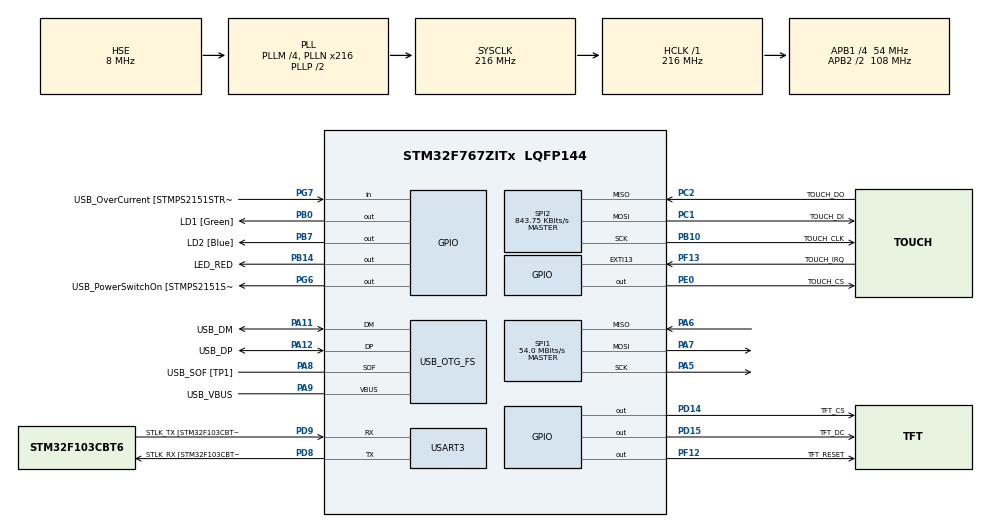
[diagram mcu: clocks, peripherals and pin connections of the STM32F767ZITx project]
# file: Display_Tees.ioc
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Dma.Request0=SPI1_TX
Dma.SPI1_TX.0.Direction=DMA_MEMORY_TO_PERIPH
Dma.SPI1_TX.0.FIFOMode=DMA_FIFOMODE_DISABLE
Dma.SPI1_TX.0.Instance=DMA2_Stream3
Dma.SPI1_TX.0.MemDataAlignment=DMA_MDATAALIGN_BYTE
Dma.SPI1_TX.0.MemInc=DMA_MINC_ENABLE
Dma.SPI1_TX.0.Mode=DMA_NORMAL
Dma.SPI1_TX.0.PeriphDataAlignment=DMA_PDATAALIGN_BYTE
Dma.SPI1_TX.0.PeriphInc=DMA_PINC_DISABLE
Dma.SPI1_TX.0.Priority=DMA_PRIORITY_VERY_HIGH
FREERTOS.Tasks01=defaultTask,48,512,StartDefaultTask,Default,NULL,Dynamic,NULL,NULL;LVGL_Handler,8,2048,LVGL_Handler_Function,Default,NULL,Dynamic,NULL,NULL
FREERTOS.configMINIMAL_STACK_SIZE=512
FREERTOS.configTOTAL_HEAP_SIZE=15360
FREERTOS.configUSE_NEWLIB_REENTRANT=1
FREERTOS.configUSE_TICK_HOOK=1
Mcu.Family=STM32F7
Mcu.Name=STM32F767ZITx
Mcu.Package=LQFP144
NVIC.DMA2_Stream3_IRQn=true\:5\:0\:true\:false\:true\:false\:false\:true
NVIC.EXTI15_10_IRQn=true\:5\:0\:false\:false\:true\:true\:true\:true
NVIC.PriorityGroup=NVIC_PRIORITYGROUP_4
NVIC.SPI1_IRQn=true\:5\:0\:false\:false\:true\:true\:true\:true
NVIC.SPI2_IRQn=true\:5\:0\:false\:false\:true\:true\:true\:true
NVIC.TIM8_TRG_COM_TIM14_IRQn=true\:0\:0\:false\:false\:true\:false\:false\:true
NVIC.TIM8_UP_TIM13_IRQn=true\:5\:0\:false\:false\:true\:true\:true\:true
NVIC.TimeBase=TIM8_TRG_COM_TIM14_IRQn
NVIC.TimeBaseIP=TIM14
PA10.GPIO_Label=USB_ID
PA10.Signal=USB_OTG_FS_ID
PA11.GPIO_Label=USB_DM
PA11.Mode=Device_Only
PA11.Signal=USB_OTG_FS_DM
PA12.GPIO_Label=USB_DP
PA12.Mode=Device_Only
PA12.Signal=USB_OTG_FS_DP
PA13.GPIO_Label=TMS
PA13.Mode=Serial_Wire
PA13.Signal=SYS_JTMS-SWDIO
PA14.GPIO_Label=TCK
PA14.Mode=Serial_Wire
PA14.Signal=SYS_JTCK-SWCLK
PA5.Mode=Full_Duplex_Master
PA5.Signal=SPI1_SCK
PA6.Mode=Full_Duplex_Master
PA6.Signal=SPI1_MISO
PA7.Mode=Full_Duplex_Master
PA7.Signal=SPI1_MOSI
PA8.GPIO_Label=USB_SOF [TP1]
PA8.Mode=Activate_SOF_FS
PA8.Signal=USB_OTG_FS_SOF
PA9.GPIO_Label=USB_VBUS
PA9.Mode=Activate_VBUS
PA9.Signal=USB_OTG_FS_VBUS
PB0.GPIO_Label=LD1 [Green]
PB0.Signal=GPIO_Output
PB10.GPIO_Label=TOUCH_CLK
PB10.Mode=Full_Duplex_Master
PB10.Signal=SPI2_SCK
PB14.GPIO_Label=LED_RED
PB14.Signal=GPIO_Output
PB3.GPIO_Label=SWO
PB3.Signal=SYS_JTDO-SWO
PB7.GPIO_Label=LD2 [Blue]
PB7.Signal=GPIO_Output
PC1.GPIO_Label=TOUCH_DI
PC1.Mode=Full_Duplex_Master
PC1.Signal=SPI2_MOSI
PC14/OSC32_IN.Mode=LSE-External-Oscillator
PC14/OSC32_IN.Signal=RCC_OSC32_IN
PC15/OSC32_OUT.Mode=LSE-External-Oscillator
PC15/OSC32_OUT.Signal=RCC_OSC32_OUT
PC2.GPIO_Label=TOUCH_DO
PC2.Mode=Full_Duplex_Master
PC2.Signal=SPI2_MISO
PD14.GPIO_Label=TFT_CS
PD14.GPIO_Speed=GPIO_SPEED_FREQ_VERY_HIGH
PD14.Signal=GPIO_Output
PD15.GPIO_Label=TFT_DC
PD15.GPIO_Speed=GPIO_SPEED_FREQ_VERY_HIGH
PD15.Signal=GPIO_Output
PD8.GPIO_Label=STLK_RX [STM32F103CBT6_PA3]
PD8.Mode=Asynchronous
PD8.Signal=USART3_TX
PD9.GPIO_Label=STLK_TX [STM32F103CBT6_PA2]
PD9.Mode=Asynchronous
PD9.Signal=USART3_RX
PE0.GPIO_Label=TOUCH_CS
PE0.Signal=GPIO_Output
PF12.GPIO_Label=TFT_RESET
PF12.GPIO_Speed=GPIO_SPEED_FREQ_MEDIUM
PF12.Signal=GPIO_Output
PF13.GPIO_Label=TOUCH_IRQ
PF13.GPIO_ModeDefaultEXTI=GPIO_MODE_IT_RISING_FALLING
PF13.Signal=GPXTI13
PG6.GPIO_Label=USB_PowerSwitchOn [STMPS2151STR_EN]
PG6.Signal=GPIO_Output
PG7.GPIO_Label=USB_OverCurrent [STMPS2151STR_FAULT]
PG7.Signal=GPIO_Input
PH0/OSC_IN.GPIO_Label=MCO [STM32F103CBT6_PA8]
PH0/OSC_IN.Mode=HSE-External-Clock-Source
PH0/OSC_IN.Signal=RCC_OSC_IN
PH1/OSC_OUT.Mode=HSE-External-Clock-Source
PH1/OSC_OUT.Signal=RCC_OSC_OUT
ProjectManager.HeapSize=0x200
ProjectManager.StackSize=0x400
ProjectManager.TargetToolchain=STM32CubeIDE
RCC.48MHZClocksFreq_Value=24000000
RCC.AHBFreq_Value=216000000
RCC.APB1CLKDivider=RCC_HCLK_DIV4
RCC.APB1Freq_Value=54000000
RCC.APB1TimFreq_Value=108000000
RCC.APB2CLKDivider=RCC_HCLK_DIV2
RCC.APB2Freq_Value=108000000
RCC.APB2TimFreq_Value=216000000
RCC.CortexFreq_Value=216000000
RCC.HCLKFreq_Value=216000000
RCC.HSE_VALUE=8000000
RCC.HSI_VALUE=16000000
RCC.PLLM=4
RCC.PLLMUL=RCC_PLL_MUL9
RCC.PLLN=216
RCC.PLLQ=9
RCC.PRESCALERUSB=RCC_USBCLKSOURCE_PLL_DIV1_5
RCC.SYSCLKFreq_VALUE=216000000
RCC.SYSCLKSource=RCC_SYSCLKSOURCE_PLLCLK
RCC.SYSCLKSourceVirtual=RCC_SYSCLKSOURCE_PLLCLK
RCC.USBFreq_Value=48000000
RCC.VCOOutputFreq_Value=432000000
SPI1.BaudRatePrescaler=SPI_BAUDRATEPRESCALER_2
SPI1.CalculateBaudRate=54.0 MBits/s
SPI1.DataSize=SPI_DATASIZE_8BIT
SPI1.Direction=SPI_DIRECTION_2LINES
SPI1.Mode=SPI_MODE_MASTER
SPI1.NSSPMode=SPI_NSS_PULSE_DISABLE
SPI1.VirtualType=VM_MASTER
SPI2.BaudRatePrescaler=SPI_BAUDRATEPRESCALER_64
SPI2.CalculateBaudRate=843.75 KBits/s
SPI2.DataSize=SPI_DATASIZE_8BIT
SPI2.Direction=SPI_DIRECTION_2LINES
SPI2.Mode=SPI_MODE_MASTER
SPI2.VirtualType=VM_MASTER
TIM13.AutoReloadPreload=TIM_AUTORELOAD_PRELOAD_ENABLE
USART3.VirtualMode-Asynchronous=VM_ASYNC
USB_OTG_FS.VirtualMode=Device_Only
VP_FREERTOS_VS_CMSIS_V2.Mode=CMSIS_V2
VP_SYS_VS_tim14.Mode=TIM14
VP_TIM13_VS_ClockSourceINT.Mode=Enable_Timer
board=NUCLEO-F767ZI

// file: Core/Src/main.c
/* USER CODE BEGIN Header */
/**
 ******************************************************************************
 * @file           : main.c
 * @brief          : Main program body
 ******************************************************************************
 * @attention
 *
 * <h2><center>&copy; Copyright (c) 2021 STMicroelectronics.
 * All rights reserved.</center></h2>
 *
 * This software component is licensed by ST under BSD 3-Clause license,
 * the "License"; You may not use this file except in compliance with the
 * License. You may obtain a copy of the License at:
 *                        opensource.org/licenses/BSD-3-Clause
 *
 ******************************************************************************
 */
/* USER CODE END Header */
#include "main.h"
#include "cmsis_os.h"
#include "tpcal.h"

/* USER CODE BEGIN Includes */
#include "ili9341.h"
#include "ili9341_gfx.h"
#include "lvgl.h"
#include "semphr.h"
/* USER CODE END Includes */

/* USER CODE BEGIN PD */
extern osThreadId screenTaskHandle;

ili9341_t *_lcd;
SemaphoreHandle_t LVGL_Mutex;
/* USER CODE END PD */

SPI_HandleTypeDef hspi1;
SPI_HandleTypeDef hspi2;
DMA_HandleTypeDef hdma_spi1_tx;

TIM_HandleTypeDef htim13;

UART_HandleTypeDef huart3;

PCD_HandleTypeDef hpcd_USB_OTG_FS;

/* Definitions for defaultTask */
osThreadId_t defaultTaskHandle;
const osThreadAttr_t defaultTask_attributes = { .name = "defaultTask",
		.priority = (osPriority_t) osPriorityRealtime, .stack_size = 512 * 4 };
/* Definitions for LVGL_Handler */
osThreadId_t LVGL_HandlerHandle;
const osThreadAttr_t LVGL_Handler_attributes = { .name = "LVGL_Handler",
		.priority = (osPriority_t) osPriorityLow, .stack_size = 2048 * 4 };

void SystemClock_Config(void);
static void MX_GPIO_Init(void);
static void MX_DMA_Init(void);
static void MX_USART3_UART_Init(void);
static void MX_USB_OTG_FS_PCD_Init(void);
static void MX_SPI1_Init(void);
static void MX_TIM13_Init(void);
static void MX_SPI2_Init(void);
void StartDefaultTask(void *argument);
void LVGL_Handler_Function(void *argument);

/* USER CODE BEGIN 0 */
bool my_input_read(lv_indev_drv_t *drv, lv_indev_data_t *data) {
	ili9341_touch_lvgl_handler(_lcd);
	data->point.x = _lcd->touch_coordinate.x;
	data->point.y = _lcd->touch_coordinate.y;
	//data->point.x = 15;
	//data->point.y = 15;
	data->state = _lcd->touch_pressed; // or LV_INDEV_STATE_REL;
	return false; /*No buffering now so no more data read*/
}
static void btn_event_cb(lv_obj_t *btn, lv_event_t event) {
	if (event.code == LV_EVENT_CLICKED) {
		printf("Clicked\n");
	}
}

void HAL_GPIO_EXTI_Callback(uint16_t GPIO_Pin) {
	if (GPIO_Pin == TOUCH_IRQ_Pin) {
		//HAL_GPIO_DeInit(TOUCH_IRQ_GPIO_Port,TOUCH_IRQ_Pin);
		ili9341_touch_interrupt(_lcd);
		/* GPIO_InitTypeDef GPIO_InitStruct = {0};
		 GPIO_InitStruct.Pin = TOUCH_IRQ_Pin;
		 GPIO_InitStruct.Mode = GPIO_MODE_IT_RISING_FALLING;
		 GPIO_InitStruct.Pull = GPIO_NOPULL;
		 HAL_GPIO_Init(TOUCH_IRQ_GPIO_Port, &GPIO_InitStruct);*/
	}
	return;
}
void screenTouchBegin(ili9341_t *lcd, uint16_t x, uint16_t y) {
	;
}

void screenTouchEnd(ili9341_t *lcd, uint16_t x, uint16_t y) {
	;
}
void prvGetRegistersFromStack(uint32_t *pulFaultStackAddress) {
	/* These are volatile to try and prevent the compiler/linker optimising them
	 away as the variables never actually get used.  If the debugger won't show the
	 values of the variables, make them global my moving their declaration outside
	 of this function. */
	volatile uint32_t r0;
	volatile uint32_t r1;
	volatile uint32_t r2;
	volatile uint32_t r3;
	volatile uint32_t r12;
	volatile uint32_t lr; /* Link register. */
	volatile uint32_t pc; /* Program counter. */
	volatile uint32_t psr;/* Program status register. */

	r0 = pulFaultStackAddress[0];
	r1 = pulFaultStackAddress[1];
	r2 = pulFaultStackAddress[2];
	r3 = pulFaultStackAddress[3];

	r12 = pulFaultStackAddress[4];
	lr = pulFaultStackAddress[5];
	pc = pulFaultStackAddress[6];
	psr = pulFaultStackAddress[7];

	/* When the following line is hit, the variables contain the register values. */
	for (;;)
		;
}
ili9341_t* display(void) {
	return _lcd;
}
/*void vApplicationTickHook (void){
 lv_tick_inc(1);
 }*/
/*A static or global variable to store the buffers*/
#define MY_DISP_HOR_RES 320
static lv_disp_draw_buf_t disp_buf;

/*Static or global buffer(s). The second buffer is optional*/
static lv_color_t buf_1[MY_DISP_HOR_RES * 10];
static lv_color_t buf_2[MY_DISP_HOR_RES * 10];

void my_flush_cb(lv_disp_drv_t *disp_drv, const lv_area_t *area,
		lv_color_t *color_p) {
	/*The most simple case (but also the slowest) to put all pixels to the screen one-by-one*/
	/* int32_t x, y;
	 for(y = area->y1; y <= area->y2; y++) {
	 for(x = area->x1; x <= area->x2; x++) {
	 put_px(x, y, *color_p)
	 color_p++;
	 }
	 }*/

	ili9341_fill_block(_lcd, color_p, area->x1, area->y1, area->x2, area->y2);

	/* IMPORTANT!!!
	 * Inform the graphics library that you are ready with the flushing*/
	lv_disp_flush_ready(disp_drv);
}
lv_obj_t *btn;
/* USER CODE END 0 */

int main(void) {

	/* MCU Configuration--------------------------------------------------------*/

	/* Reset of all peripherals, Initializes the Flash interface and the Systick. */

	HAL_Init();

	/* Configure the system clock */
	SystemClock_Config();

	/* Initialize all configured peripherals */
	MX_GPIO_Init();
	MX_DMA_Init();
	MX_USART3_UART_Init();
	MX_USB_OTG_FS_PCD_Init();
	MX_SPI1_Init();
	MX_TIM13_Init();
	MX_SPI2_Init();
	/* USER CODE BEGIN 2 */
	_lcd = ili9341_new(&hspi1,
	TFT_RESET_GPIO_Port, TFT_RESET_Pin,
	TFT_CS_GPIO_Port, TFT_CS_Pin,
	TFT_DC_GPIO_Port, TFT_DC_Pin, isoLandscape,
	TOUCH_CS_GPIO_Port, TOUCH_CS_Pin,
	TOUCH_IRQ_GPIO_Port, TOUCH_IRQ_Pin, itsSupported, itnNormalized, &hspi2);
	ili9341_set_touch_pressed_begin(_lcd, screenTouchBegin);
	ili9341_set_touch_pressed_end(_lcd, screenTouchEnd);
	lv_init();

	/*Initialize `disp_buf` with the buffer(s) */
	lv_disp_draw_buf_init(&disp_buf, buf_1, buf_2, MY_DISP_HOR_RES * 10);
	/* INIT DISPLAY */
	static lv_disp_drv_t disp_drv; /*A variable to hold the drivers. Can be local variable*/
	lv_disp_drv_init(&disp_drv); /*Basic initialization*/
	disp_drv.draw_buf = &disp_buf; /*Set an initialized buffer*/
	disp_drv.flush_cb = my_flush_cb; /*Set a flush callback to draw to the display*/
	disp_drv.rounder_cb = 0;
	lv_disp_t *disp;
	disp = lv_disp_drv_register(&disp_drv); /*Register the driver and save the created display objects*/
	/*INIT INPUT DEVICE*/
	static lv_indev_drv_t indev_drv;
	lv_indev_drv_init(&indev_drv); /*Basic initialization*/
	indev_drv.type = LV_INDEV_TYPE_POINTER;
	indev_drv.read_cb = my_input_read;

	lv_indev_t *my_indev = lv_indev_drv_register(&indev_drv);

	/* Create Test Object */
	lv_tick_inc(1);

	btn = lv_btn_create(lv_scr_act());

	//lv_obj_align(btn, NULL, 0, -40);
	lv_obj_add_event_cb(btn, btn_event_cb, LV_EVENT_ALL, NULL);
	lv_obj_t *label;
	label = lv_label_create(btn);
	lv_label_set_text(label, "+");
	lv_obj_set_size(btn, 10, 10);
	lv_obj_set_pos(btn, 10, 10);

	/*Create an array for the points of the line*/
	static lv_point_t line_points[] = { { 5, 5 }, { 70, 70 }, { 120, 10 }, {
			180, 60 }, { 240, 10 } };

	/*Create style*/
	static lv_style_t style_line;
	lv_style_init(&style_line);
	lv_style_set_bg_color(&style_line, lv_palette_main(LV_PALETTE_BLUE));
	lv_style_set_line_width(&style_line, 2);
	lv_style_set_line_rounded(&style_line, true);
	lv_style_set_bg_opa(&style_line, LV_OPA_10);
	lv_style_set_border_opa(&style_line, LV_OPA_10);
	/*Create a line and apply the new style*/
	lv_obj_t *line1;
	line1 = lv_line_create(lv_scr_act());
	lv_line_set_points(line1, line_points, 5); /*Set the points*/
	lv_obj_add_style(line1, &style_line, 0);
	lv_obj_center(line1);

	lv_obj_t *label1 = lv_label_create(lv_scr_act());
	lv_label_set_long_mode(label1, LV_LABEL_LONG_WRAP); /*Break the long lines*/
	lv_label_set_recolor(label1, true); /*Enable re-coloring by commands in the text*/
	//lv_label_set_align(label1, LV_TEXT_ALIGN_CENTER);       /*Center aligned lines*/
	lv_label_set_text(label1,
			"#0000ff Re-color# #ff00ff words# #ff0000 of a# label "
					"and  wrap long text automatically.");
	lv_obj_set_width(label1, 150);

	//ili9341_touch_lvgl_calibration();

	/* USER CODE END 2 */

	/* Init scheduler */
	osKernelInitialize();

	/* Create the thread(s) */
	/* creation of defaultTask */
	defaultTaskHandle = osThreadNew(StartDefaultTask, NULL,
			&defaultTask_attributes);

	/* creation of LVGL_Handler */
	LVGL_HandlerHandle = osThreadNew(LVGL_Handler_Function, NULL,
			&LVGL_Handler_attributes);

	/* Start scheduler */
	osKernelStart();

	/* We should never get here as control is now taken by the scheduler */
	/* Infinite loop */
	while (1) {

	}
}

void SystemClock_Config(void) {
	RCC_OscInitTypeDef RCC_OscInitStruct = { 0 };
	RCC_ClkInitTypeDef RCC_ClkInitStruct = { 0 };
	RCC_PeriphCLKInitTypeDef PeriphClkInitStruct = { 0 };

	/** Configure LSE Drive Capability
	 */
	HAL_PWR_EnableBkUpAccess();
	/** Configure the main internal regulator output voltage
	 */
	__HAL_RCC_PWR_CLK_ENABLE();
	__HAL_PWR_VOLTAGESCALING_CONFIG(PWR_REGULATOR_VOLTAGE_SCALE1);
	/** Initializes the RCC Oscillators according to the specified parameters
	 * in the RCC_OscInitTypeDef structure.
	 */
	RCC_OscInitStruct.OscillatorType = RCC_OSCILLATORTYPE_HSE;
	RCC_OscInitStruct.HSEState = RCC_HSE_BYPASS;
	RCC_OscInitStruct.PLL.PLLState = RCC_PLL_ON;
	RCC_OscInitStruct.PLL.PLLSource = RCC_PLLSOURCE_HSE;
	RCC_OscInitStruct.PLL.PLLM = 4;
	RCC_OscInitStruct.PLL.PLLN = 216;
	RCC_OscInitStruct.PLL.PLLP = RCC_PLLP_DIV2;
	RCC_OscInitStruct.PLL.PLLQ = 9;
	if (HAL_RCC_OscConfig(&RCC_OscInitStruct) != HAL_OK) {
		Error_Handler();
	}
	/** Activate the Over-Drive mode
	 */
	if (HAL_PWREx_EnableOverDrive() != HAL_OK) {
		Error_Handler();
	}
	/** Initializes the CPU, AHB and APB buses clocks
	 */
	RCC_ClkInitStruct.ClockType = RCC_CLOCKTYPE_HCLK | RCC_CLOCKTYPE_SYSCLK
			| RCC_CLOCKTYPE_PCLK1 | RCC_CLOCKTYPE_PCLK2;
	RCC_ClkInitStruct.SYSCLKSource = RCC_SYSCLKSOURCE_PLLCLK;
	RCC_ClkInitStruct.AHBCLKDivider = RCC_SYSCLK_DIV1;
	RCC_ClkInitStruct.APB1CLKDivider = RCC_HCLK_DIV4;
	RCC_ClkInitStruct.APB2CLKDivider = RCC_HCLK_DIV2;

	if (HAL_RCC_ClockConfig(&RCC_ClkInitStruct, FLASH_LATENCY_7) != HAL_OK) {
		Error_Handler();
	}
	PeriphClkInitStruct.PeriphClockSelection = RCC_PERIPHCLK_USART3
			| RCC_PERIPHCLK_CLK48;
	PeriphClkInitStruct.Usart3ClockSelection = RCC_USART3CLKSOURCE_PCLK1;
	PeriphClkInitStruct.Clk48ClockSelection = RCC_CLK48SOURCE_PLL;
	if (HAL_RCCEx_PeriphCLKConfig(&PeriphClkInitStruct) != HAL_OK) {
		Error_Handler();
	}
}

static void MX_SPI1_Init(void) {

	/* SPI1 parameter configuration*/
	hspi1.Instance = SPI1;
	hspi1.Init.Mode = SPI_MODE_MASTER;
	hspi1.Init.Direction = SPI_DIRECTION_2LINES;
	hspi1.Init.DataSize = SPI_DATASIZE_8BIT;
	hspi1.Init.CLKPolarity = SPI_POLARITY_LOW;
	hspi1.Init.CLKPhase = SPI_PHASE_1EDGE;
	hspi1.Init.NSS = SPI_NSS_SOFT;
	hspi1.Init.BaudRatePrescaler = SPI_BAUDRATEPRESCALER_2;
	hspi1.Init.FirstBit = SPI_FIRSTBIT_MSB;
	hspi1.Init.TIMode = SPI_TIMODE_DISABLE;
	hspi1.Init.CRCCalculation = SPI_CRCCALCULATION_DISABLE;
	hspi1.Init.CRCPolynomial = 7;
	hspi1.Init.CRCLength = SPI_CRC_LENGTH_DATASIZE;
	hspi1.Init.NSSPMode = SPI_NSS_PULSE_DISABLE;
	if (HAL_SPI_Init(&hspi1) != HAL_OK) {
		Error_Handler();
	}

}

static void MX_SPI2_Init(void) {

	/* SPI2 parameter configuration*/
	hspi2.Instance = SPI2;
	hspi2.Init.Mode = SPI_MODE_MASTER;
	hspi2.Init.Direction = SPI_DIRECTION_2LINES;
	hspi2.Init.DataSize = SPI_DATASIZE_8BIT;
	hspi2.Init.CLKPolarity = SPI_POLARITY_LOW;
	hspi2.Init.CLKPhase = SPI_PHASE_1EDGE;
	hspi2.Init.NSS = SPI_NSS_SOFT;
	hspi2.Init.BaudRatePrescaler = SPI_BAUDRATEPRESCALER_64;
	hspi2.Init.FirstBit = SPI_FIRSTBIT_MSB;
	hspi2.Init.TIMode = SPI_TIMODE_DISABLE;
	hspi2.Init.CRCCalculation = SPI_CRCCALCULATION_DISABLE;
	hspi2.Init.CRCPolynomial = 7;
	hspi2.Init.CRCLength = SPI_CRC_LENGTH_DATASIZE;
	hspi2.Init.NSSPMode = SPI_NSS_PULSE_ENABLE;
	if (HAL_SPI_Init(&hspi2) != HAL_OK) {
		Error_Handler();
	}

}

static void MX_TIM13_Init(void) {

	htim13.Instance = TIM13;
	htim13.Init.Prescaler = 0;
	htim13.Init.CounterMode = TIM_COUNTERMODE_UP;
	htim13.Init.Period = 65535;
	htim13.Init.ClockDivision = TIM_CLOCKDIVISION_DIV1;
	htim13.Init.AutoReloadPreload = TIM_AUTORELOAD_PRELOAD_ENABLE;
	if (HAL_TIM_Base_Init(&htim13) != HAL_OK) {
		Error_Handler();
	}

}

static void MX_USART3_UART_Init(void) {

	huart3.Instance = USART3;
	huart3.Init.BaudRate = 115200;
	huart3.Init.WordLength = UART_WORDLENGTH_8B;
	huart3.Init.StopBits = UART_STOPBITS_1;
	huart3.Init.Parity = UART_PARITY_NONE;
	huart3.Init.Mode = UART_MODE_TX_RX;
	huart3.Init.HwFlowCtl = UART_HWCONTROL_NONE;
	huart3.Init.OverSampling = UART_OVERSAMPLING_16;
	huart3.Init.OneBitSampling = UART_ONE_BIT_SAMPLE_DISABLE;
	huart3.AdvancedInit.AdvFeatureInit = UART_ADVFEATURE_NO_INIT;
	if (HAL_UART_Init(&huart3) != HAL_OK) {
		Error_Handler();
	}

}

static void MX_USB_OTG_FS_PCD_Init(void) {

	hpcd_USB_OTG_FS.Instance = USB_OTG_FS;
	hpcd_USB_OTG_FS.Init.dev_endpoints = 6;
	hpcd_USB_OTG_FS.Init.speed = PCD_SPEED_FULL;
	hpcd_USB_OTG_FS.Init.dma_enable = DISABLE;
	hpcd_USB_OTG_FS.Init.phy_itface = PCD_PHY_EMBEDDED;
	hpcd_USB_OTG_FS.Init.Sof_enable = ENABLE;
	hpcd_USB_OTG_FS.Init.low_power_enable = DISABLE;
	hpcd_USB_OTG_FS.Init.lpm_enable = DISABLE;
	hpcd_USB_OTG_FS.Init.vbus_sensing_enable = ENABLE;
	hpcd_USB_OTG_FS.Init.use_dedicated_ep1 = DISABLE;
	if (HAL_PCD_Init(&hpcd_USB_OTG_FS) != HAL_OK) {
		Error_Handler();
	}

}

static void MX_DMA_Init(void) {

	/* DMA controller clock enable */
	__HAL_RCC_DMA2_CLK_ENABLE();

	/* DMA interrupt init */
	/* DMA2_Stream3_IRQn interrupt configuration */
	HAL_NVIC_SetPriority(DMA2_Stream3_IRQn, 5, 0);
	HAL_NVIC_EnableIRQ(DMA2_Stream3_IRQn);

}

static void MX_GPIO_Init(void) {
	GPIO_InitTypeDef GPIO_InitStruct = { 0 };

	/* GPIO Ports Clock Enable */
	__HAL_RCC_GPIOC_CLK_ENABLE();
	__HAL_RCC_GPIOH_CLK_ENABLE();
	__HAL_RCC_GPIOA_CLK_ENABLE();
	__HAL_RCC_GPIOB_CLK_ENABLE();
	__HAL_RCC_GPIOF_CLK_ENABLE();
	__HAL_RCC_GPIOD_CLK_ENABLE();
	__HAL_RCC_GPIOG_CLK_ENABLE();
	__HAL_RCC_GPIOE_CLK_ENABLE();

	/*Configure GPIO pin Output Level */
	HAL_GPIO_WritePin(GPIOB, LD1_Pin | LED_RED_Pin | LD2_Pin, GPIO_PIN_RESET);

	/*Configure GPIO pin Output Level */
	HAL_GPIO_WritePin(TFT_RESET_GPIO_Port, TFT_RESET_Pin, GPIO_PIN_RESET);

	/*Configure GPIO pin Output Level */
	HAL_GPIO_WritePin(GPIOD, TFT_CS_Pin | TFT_DC_Pin, GPIO_PIN_RESET);

	/*Configure GPIO pin Output Level */
	HAL_GPIO_WritePin(USB_PowerSwitchOn_GPIO_Port, USB_PowerSwitchOn_Pin,
			GPIO_PIN_RESET);

	/*Configure GPIO pin Output Level */
	HAL_GPIO_WritePin(TOUCH_CS_GPIO_Port, TOUCH_CS_Pin, GPIO_PIN_RESET);

	/*Configure GPIO pins : LD1_Pin LED_RED_Pin LD2_Pin */
	GPIO_InitStruct.Pin = LD1_Pin | LED_RED_Pin | LD2_Pin;
	GPIO_InitStruct.Mode = GPIO_MODE_OUTPUT_PP;
	GPIO_InitStruct.Pull = GPIO_NOPULL;
	GPIO_InitStruct.Speed = GPIO_SPEED_FREQ_LOW;
	HAL_GPIO_Init(GPIOB, &GPIO_InitStruct);

	/*Configure GPIO pin : TFT_RESET_Pin */
	GPIO_InitStruct.Pin = TFT_RESET_Pin;
	GPIO_InitStruct.Mode = GPIO_MODE_OUTPUT_PP;
	GPIO_InitStruct.Pull = GPIO_NOPULL;
	GPIO_InitStruct.Speed = GPIO_SPEED_FREQ_MEDIUM;
	HAL_GPIO_Init(TFT_RESET_GPIO_Port, &GPIO_InitStruct);

	/*Configure GPIO pin : TOUCH_IRQ_Pin */
	GPIO_InitStruct.Pin = TOUCH_IRQ_Pin;
	GPIO_InitStruct.Mode = GPIO_MODE_IT_RISING_FALLING;
	GPIO_InitStruct.Pull = GPIO_NOPULL;
	HAL_GPIO_Init(TOUCH_IRQ_GPIO_Port, &GPIO_InitStruct);

	/*Configure GPIO pins : TFT_CS_Pin TFT_DC_Pin */
	GPIO_InitStruct.Pin = TFT_CS_Pin | TFT_DC_Pin;
	GPIO_InitStruct.Mode = GPIO_MODE_OUTPUT_PP;
	GPIO_InitStruct.Pull = GPIO_NOPULL;
	GPIO_InitStruct.Speed = GPIO_SPEED_FREQ_VERY_HIGH;
	HAL_GPIO_Init(GPIOD, &GPIO_InitStruct);

	/*Configure GPIO pin : USB_PowerSwitchOn_Pin */
	GPIO_InitStruct.Pin = USB_PowerSwitchOn_Pin;
	GPIO_InitStruct.Mode = GPIO_MODE_OUTPUT_PP;
	GPIO_InitStruct.Pull = GPIO_NOPULL;
	GPIO_InitStruct.Speed = GPIO_SPEED_FREQ_LOW;
	HAL_GPIO_Init(USB_PowerSwitchOn_GPIO_Port, &GPIO_InitStruct);

	/*Configure GPIO pin : USB_OverCurrent_Pin */
	GPIO_InitStruct.Pin = USB_OverCurrent_Pin;
	GPIO_InitStruct.Mode = GPIO_MODE_INPUT;
	GPIO_InitStruct.Pull = GPIO_NOPULL;
	HAL_GPIO_Init(USB_OverCurrent_GPIO_Port, &GPIO_InitStruct);

	/*Configure GPIO pin : TOUCH_CS_Pin */
	GPIO_InitStruct.Pin = TOUCH_CS_Pin;
	GPIO_InitStruct.Mode = GPIO_MODE_OUTPUT_PP;
	GPIO_InitStruct.Pull = GPIO_NOPULL;
	GPIO_InitStruct.Speed = GPIO_SPEED_FREQ_LOW;
	HAL_GPIO_Init(TOUCH_CS_GPIO_Port, &GPIO_InitStruct);

	/* EXTI interrupt init*/
	HAL_NVIC_SetPriority(EXTI15_10_IRQn, 5, 0);
	HAL_NVIC_EnableIRQ(EXTI15_10_IRQn);

}

void StartDefaultTask(void *argument) {
	/* USER CODE BEGIN 5 */
	int i = 0;

	/* Infinite loop */
	for (;;) {
//	 ili9341_spi_tft_select(_lcd);
		//HAL_GPIO_WritePin(TFT_RESET_GPIO_Port, TFT_RESET_Pin, GPIO_PIN_SET);
		osDelay(10);
		/*Add a button the current screen*/

		//HAL_GPIO_WritePin(TFT_RESET_GPIO_Port, TFT_RESET_Pin, GPIO_PIN_RESET);
//	  ili9341_draw_bitmap_1b(_lcd, ILI9341_WHITE, ILI9341_RED, 0, 0, 320, 240, (uint8_t*)checkerboard_full);
		// ili9341_fill_screen(_lcd,ILI9341_BLACK);
		// ili9341_spi_tft_release(_lcd);
		// char buf[10];
		//int rc= HAL_SPI_Transmit_DMA(&hspi1, buf, 10);
		if ( xSemaphoreTake( LVGL_Mutex, ( TickType_t ) 10 ) == pdTRUE) {
			//lv_obj_set_size(btn, 120, 50); /*Set its size*/
			/*Add a label to the button*/

			//lv_obj_set_pos(btn, 10 + i, 10); /*Set its position*/
			/*Set the labels text*/
			//i++;
			if (i > 150) {
				i = 0;
			}
			xSemaphoreGive(LVGL_Mutex);
		}

		// ili9341_fill_screen(_lcd,ILI9341_RED);

		//  ili9341_draw_bitmap_1b(_lcd, ILI9341_WHITE, ILI9341_BLACK, 0, 0, 320, 240, (uint8_t*)checkerboard_full);
	}
	/* USER CODE END 5 */
}

void LVGL_Handler_Function(void *argument) {
	/* USER CODE BEGIN LVGL_Handler_Function */
	/* Infinite loop */

	LVGL_Mutex = xSemaphoreCreateMutex();

	for (;;) {

//osDelay(1);
		if ( xSemaphoreTake( LVGL_Mutex, ( TickType_t ) 10 ) == pdTRUE) {
			lv_task_handler();
			xSemaphoreGive(LVGL_Mutex);
		}
		osDelay(5);
	}
	/* USER CODE END LVGL_Handler_Function */
}

void HAL_TIM_PeriodElapsedCallback(TIM_HandleTypeDef *htim) {
	if (htim->Instance == TIM14) {
		HAL_IncTick();
	}
}

void Error_Handler(void) {
	__disable_irq();
	while (1) {
	}
}

/************************ (C) COPYRIGHT STMicroelectronics *****END OF FILE****/

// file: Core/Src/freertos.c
/* USER CODE BEGIN Header */
/**
  ******************************************************************************
  * File Name          : freertos.c
  * Description        : Code for freertos applications
  ******************************************************************************
  * @attention
  *
  * <h2><center>&copy; Copyright (c) 2021 STMicroelectronics.
  * All rights reserved.</center></h2>
  *
  * This software component is licensed by ST under Ultimate Liberty license
  * SLA0044, the "License"; You may not use this file except in compliance with
  * the License. You may obtain a copy of the License at:
  *                             www.st.com/SLA0044
  *
  ******************************************************************************
  */
/* USER CODE END Header */

#include "FreeRTOS.h"
#include "task.h"
#include "main.h"

/* Hook prototypes */
void vApplicationTickHook(void);

/* USER CODE BEGIN 3 */
void vApplicationTickHook( void )
{
   /* This function will be called by each tick interrupt if
   configUSE_TICK_HOOK is set to 1 in FreeRTOSConfig.h. User code can be
   added here, but the tick hook is called from an interrupt context, so
   code must not attempt to block, and only the interrupt safe FreeRTOS API
   functions can be used (those that end in FromISR()). */
   lv_tick_inc(1);
}
/* USER CODE END 3 */

/************************ (C) COPYRIGHT STMicroelectronics *****END OF FILE****/
